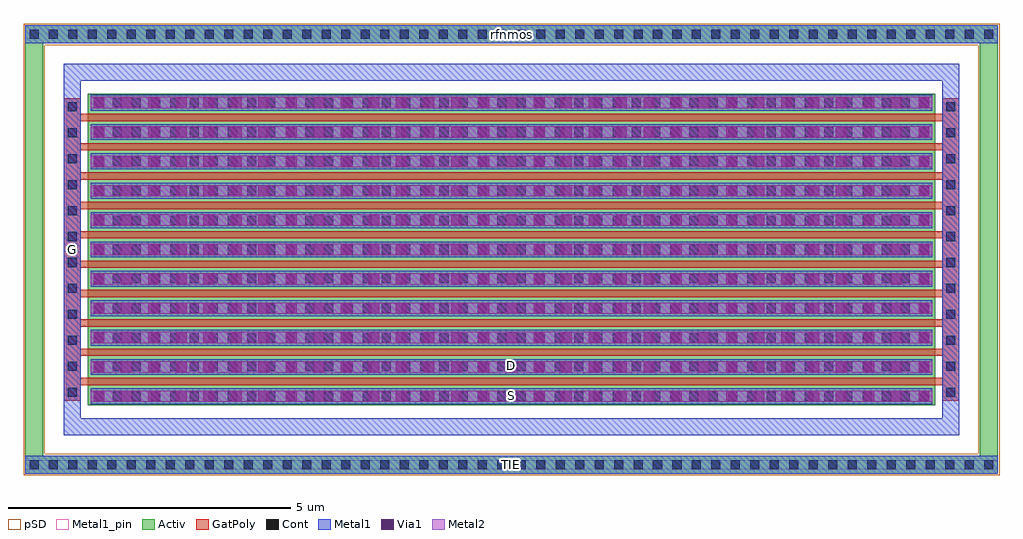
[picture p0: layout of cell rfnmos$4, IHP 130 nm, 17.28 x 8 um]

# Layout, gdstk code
import gdstk
lib = gdstk.Library(unit=1e-6, precision=5e-09)
def R(c, l, rs):  # rectangles x0, y0, x1, y1
    for r in rs: c.add(gdstk.rectangle(r[:2], r[2:], *l))
def A(c, l, x, y, w, h, nx, ny, dx, dy):  # array of equal rectangles
    R(c, l, [(x+i*dx, y+j*dy, x+i*dx+w, y+j*dy+h) for i in range(nx) for j in range(ny)])
def P(c, l, *ps):  # polygons
    for p in ps: c.add(gdstk.Polygon(p, *l))
Activ = (1, 0)
GatPoly = (5, 0)
Cont = (6, 0)
Metal1 = (8, 0)
Metal1_pin = (8, 2)
Metal2 = (10, 0)
pSD = (14, 0)
Via1 = (19, 0)

rfnmos_4 = lib.new_cell('rfnmos$4')
R(rfnmos_4, Activ, [(1.14,1.245,16.14,6.755)])
P(rfnmos_4, Activ, [(0.03,0.03),(0.03,7.65),(0.35,7.65),(0.35,0.35),(16.93,0.35),(16.93,7.65),(0.03,7.65),(0.03,7.97),(17.25,7.97),(17.25,0.03)])
A(rfnmos_4, GatPoly, 1.01, 1.595, 15.26, 0.13, 1, 10, 0, 0.52)
R(rfnmos_4, GatPoly, [(0.71,1.32,1.01,6.68), (16.27,1.32,16.57,6.68)])
A(rfnmos_4, Cont, 0.45, 0.11, 0.16, 0.16, 49, 2, 0.345, 7.62)
A(rfnmos_4, Cont, 1.24, 1.32, 0.16, 0.16, 11, 11, 0.34, 0.52)
A(rfnmos_4, Cont, 4.985, 1.32, 0.16, 0.16, 11, 11, 0.34, 0.52)
A(rfnmos_4, Cont, 8.73, 1.32, 0.16, 0.16, 11, 11, 0.34, 0.52)
A(rfnmos_4, Cont, 12.475, 1.32, 0.16, 0.16, 10, 11, 0.34, 0.52)
A(rfnmos_4, Cont, 15.88, 1.32, 0.16, 0.16, 1, 11, 0, 0.52)
A(rfnmos_4, Cont, 0.78, 1.39, 0.16, 0.16, 1, 12, 0, 0.46)
A(rfnmos_4, Cont, 16.34, 1.39, 0.16, 0.16, 1, 12, 0, 0.46)
R(rfnmos_4, Cont, [(0.11,0.11,0.27,0.27), (0.11,7.73,0.27,7.89)])
A(rfnmos_4, Metal1, 1.19, 1.26, 14.9, 0.28, 1, 11, 0, 0.52)
R(rfnmos_4, Metal1, [(0.03,0.03,17.25,0.35), (0.76,1.34,0.96,6.66), (16.32,1.34,16.52,6.66), (0.03,7.65,17.25,7.97)])
P(rfnmos_4, Metal1, [(0.71,0.71),(0.71,6.99),(1.01,6.99),(1.01,1.01),(16.27,1.01),(16.27,6.99),(0.71,6.99),(0.71,7.29),(16.57,7.29),(16.57,0.71)])
R(rfnmos_4, Metal1_pin, [(0.03,0.11,17.25,0.27), (0.03,0.11,17.25,0.27), (1.19,1.26,16.09,1.54), (1.19,1.26,16.09,1.54), (0.76,1.34,0.96,6.66), (0.76,1.34,0.96,6.66), (1.19,1.78,16.09,2.06), (1.19,1.78,16.09,2.06)])
A(rfnmos_4, Metal2, 1.19, 1.3, 14.9, 0.2, 1, 11, 0, 0.52)
P(rfnmos_4, pSD, [(0,0),(0,7.62),(0.38,7.62),(0.38,0.38),(16.9,0.38),(16.9,7.62),(0,7.62),(0,8),(17.28,8),(17.28,0)])
A(rfnmos_4, Via1, 1.24, 1.305, 0.19, 0.19, 3, 11, 0.485, 0.52)
A(rfnmos_4, Via1, 2.7, 1.305, 0.19, 0.19, 1, 11, 0, 0.52)
A(rfnmos_4, Via1, 3.185, 1.305, 0.19, 0.19, 1, 11, 0, 0.52)
A(rfnmos_4, Via1, 3.675, 1.305, 0.19, 0.19, 3, 11, 0.485, 0.52)
A(rfnmos_4, Via1, 5.135, 1.305, 0.19, 0.19, 1, 11, 0, 0.52)
A(rfnmos_4, Via1, 5.62, 1.305, 0.19, 0.19, 1, 11, 0, 0.52)
A(rfnmos_4, Via1, 6.11, 1.305, 0.19, 0.19, 3, 11, 0.485, 0.52)
A(rfnmos_4, Via1, 7.57, 1.305, 0.19, 0.19, 1, 11, 0, 0.52)
A(rfnmos_4, Via1, 8.055, 1.305, 0.19, 0.19, 1, 11, 0, 0.52)
A(rfnmos_4, Via1, 8.545, 1.305, 0.19, 0.19, 3, 11, 0.485, 0.52)
A(rfnmos_4, Via1, 10.005, 1.305, 0.19, 0.19, 1, 11, 0, 0.52)
A(rfnmos_4, Via1, 10.49, 1.305, 0.19, 0.19, 1, 11, 0, 0.52)
A(rfnmos_4, Via1, 10.98, 1.305, 0.19, 0.19, 3, 11, 0.485, 0.52)
A(rfnmos_4, Via1, 12.44, 1.305, 0.19, 0.19, 1, 11, 0, 0.52)
A(rfnmos_4, Via1, 12.925, 1.305, 0.19, 0.19, 1, 11, 0, 0.52)
A(rfnmos_4, Via1, 13.415, 1.305, 0.19, 0.19, 3, 11, 0.485, 0.52)
A(rfnmos_4, Via1, 14.875, 1.305, 0.19, 0.19, 1, 11, 0, 0.52)
A(rfnmos_4, Via1, 15.36, 1.305, 0.19, 0.19, 1, 11, 0, 0.52)
A(rfnmos_4, Via1, 15.85, 1.305, 0.19, 0.19, 1, 11, 0, 0.52)
rfnmos_4.add(gdstk.Label('S', (8.64,1.42), layer=63, texttype=0))
rfnmos_4.add(gdstk.Label('D', (8.64,1.94), layer=63, texttype=0))
rfnmos_4.add(gdstk.Label('G', (0.86,4), layer=63, texttype=0))
rfnmos_4.add(gdstk.Label('TIE', (8.64,0.19), layer=63, texttype=0))
rfnmos_4.add(gdstk.Label('rfnmos', (8.64,7.81), layer=63, texttype=0))

lib.write_gds('rfnmos_4.gds')
